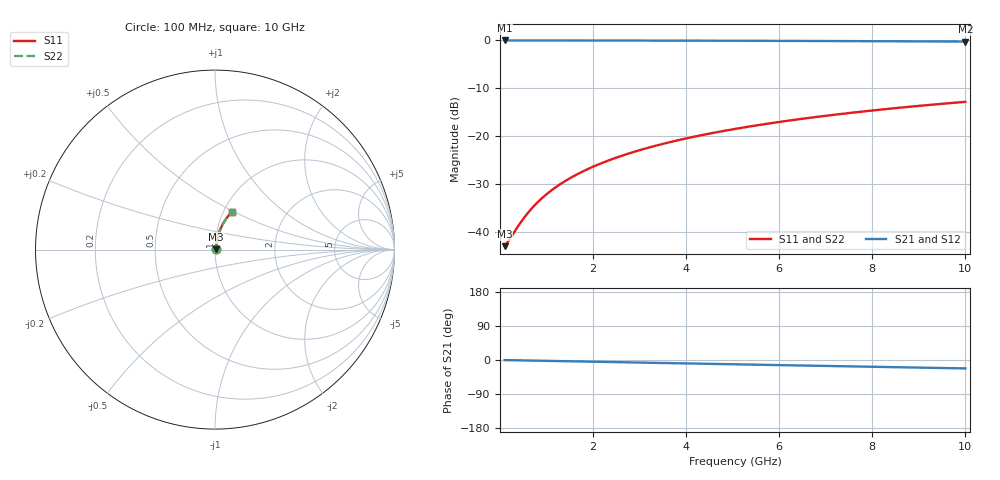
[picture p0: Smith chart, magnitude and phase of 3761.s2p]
# Hz S RI R 50.00
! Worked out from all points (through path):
!   100 points, 100 MHz to 10 GHz, reference 50 ohm
!   highest |S21| = -0.06 dB at 100 MHz (marker M1); lowest = -0.3 dB at 10 GHz (marker M2)
!   group delay of S21, straight-line fit = 6.18 ps
!   lowest |S11| = -43.0 dB at 100 MHz (marker M3), VSWR 1.01, Z = 50.7 + j0.237 ohm
!   |S11| at or under -10 dB: start of sweep to end of sweep
!   |S22| runs from -43.0 to -12.9 dB; largest |S21 - S12| = 0
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1e8  0.00667 0.00234  0.9933 -0.00391  0.9933 -0.00391  0.00667 0.00234
2e8  0.00674 0.00468  0.9932 -0.00782  0.9932 -0.00782  0.00674 0.00468
4e8  0.00691 0.00936  0.9931 -0.0156  0.9931 -0.0156  0.00691 0.00936
5e8  0.00702 0.0117  0.9929 -0.0195  0.9929 -0.0195  0.00702 0.0117
6e8  0.00714 0.014  0.9928 -0.0234  0.9928 -0.0234  0.00714 0.014
7e8  0.00727 0.0164  0.9927 -0.0274  0.9927 -0.0274  0.00727 0.0164
8e8  0.00743 0.0187  0.9925 -0.0313  0.9925 -0.0313  0.00743 0.0187
1e9  0.00779 0.0234  0.9921 -0.0391  0.9921 -0.0391  0.00779 0.0234
1.2e9  0.00822 0.028  0.9916 -0.0469  0.9916 -0.0469  0.00822 0.028
1.5e9  0.00899 0.035  0.9907 -0.0585  0.9907 -0.0585  0.00899 0.035
1.8e9  0.00993 0.0419  0.9896 -0.0702  0.9896 -0.0702  0.00993 0.0419
2.1e9  0.011 0.0488  0.9884 -0.0818  0.9884 -0.0818  0.011 0.0488
2.5e9  0.0127 0.058  0.9864 -0.0973  0.9864 -0.0973  0.0127 0.058
2.9e9  0.0147 0.0671  0.9842 -0.1127  0.9842 -0.1127  0.0147 0.0671
3.4e9  0.0176 0.0784  0.9809 -0.1318  0.9809 -0.1318  0.0176 0.0784
4.2e9  0.0231 0.0961  0.9746 -0.1622  0.9746 -0.1622  0.0231 0.0961
5.1e9  0.0306 0.1155  0.9661 -0.1958  0.9661 -0.1958  0.0306 0.1155
5.9e9  0.0384 0.1323  0.9572 -0.2251  0.9572 -0.2251  0.0384 0.1323
6.7e9  0.0471 0.1484  0.9472 -0.2539  0.9472 -0.2539  0.0471 0.1484
7.5e9  0.0568 0.1639  0.9361 -0.2821  0.9361 -0.2821  0.0568 0.1639
8.4e9  0.0687 0.1805  0.9223 -0.3129  0.9223 -0.3129  0.0687 0.1805
1e10  0.0924 0.2076  0.8949 -0.3654  0.8949 -0.3654  0.0924 0.2076
